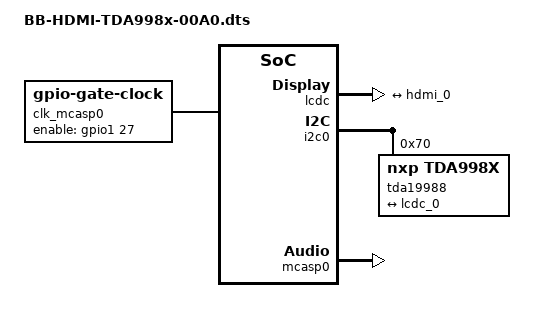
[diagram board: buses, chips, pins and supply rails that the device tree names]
/*
* Copyright (C) 2012 Texas Instruments Incorporated - http://www.ti.com/
*
* This program is free software; you can redistribute it and/or modify
* it under the terms of the GNU General Public License version 2 as
* published by the Free Software Foundation.
*/
/dts-v1/;
/plugin/;

#include <dt-bindings/gpio/gpio.h>
#include <dt-bindings/pinctrl/am33xx.h>
#include <dt-bindings/display/tda998x.h>

/ {
	compatible = "ti,beaglebone-black";

	/* identification */
	part-number = "BB-HDMI-TDA998x";
	version = "00A0";

	/* state the resources this cape uses */
	exclusive-use =
		/* the pin header uses */
		"P9.25",	/* mcasp0: mcasp0_ahclkx */
		"P9.28",	/* mcasp0: mcasp0_axr2 */
		"P9.29",	/* mcasp0: mcasp0_fsx */
		"P9.31",	/* mcasp0: mcasp0_aclkx */
		"P8.45",	/* lcd: lcd_data0 */
		"P8.46",	/* lcd: lcd_data1 */
		"P8.43",	/* lcd: lcd_data2 */
		"P8.44",	/* lcd: lcd_data3 */
		"P8.41",	/* lcd: lcd_data4 */
		"P8.42",	/* lcd: lcd_data5 */
		"P8.39",	/* lcd: lcd_data6 */
		"P8.40",	/* lcd: lcd_data7 */
		"P8.37",	/* lcd: lcd_data8 */
		"P8.38",	/* lcd: lcd_data9 */
		"P8.36",	/* lcd: lcd_data10 */
		"P8.34",	/* lcd: lcd_data11 */
		"P8.35",	/* lcd: lcd_data12 */
		"P8.33",	/* lcd: lcd_data13 */
		"P8.31",	/* lcd: lcd_data14 */
		"P8.32",	/* lcd: lcd_data15 */
		"P8.27",	/* lcd: lcd_vsync */
		"P8.29",	/* lcd: lcd_hsync */
		"P8.28",	/* lcd: lcd_pclk */
		"P8.30",	/* lcd: lcd_ac_bias_en */
		/* the hardware IP uses */
		"gpio1_27",
		"mcasp0",
		"lcd";

	fragment@0 {
		target-path="/";
		__overlay__ {
			clk_mcasp0_fixed: clk_mcasp0_fixed {
				#clock-cells = <0>;
				compatible = "fixed-clock";
				clock-frequency = <24576000>;
			};

			clk_mcasp0: clk_mcasp0 {
				#clock-cells = <0>;
				compatible = "gpio-gate-clock";
				clocks = <&clk_mcasp0_fixed>;
				enable-gpios = <&gpio1 27 0>; /* BeagleBone Black Clk enable on GPIO1_27 */
			};

			sound {
				compatible = "simple-audio-card";
				simple-audio-card,name = "TI BeagleBone Black";
				simple-audio-card,format = "i2s";
				simple-audio-card,bitclock-master = <&dailink0_master>;
				simple-audio-card,frame-master = <&dailink0_master>;

				dailink0_master: simple-audio-card,cpu {
					sound-dai = <&mcasp0>;
					clocks = <&clk_mcasp0>;
				};

				simple-audio-card,codec {
					sound-dai = <&tda19988>;
				};
			};
		};
	};

	fragment@1 {
		target = <&am33xx_pinmux>;
		__overlay__ {
			nxp_hdmi_bonelt_pins: nxp_hdmi_bonelt_pins {
				pinctrl-single,pins = <
					AM33XX_IOPAD(0x9b0, PIN_OUTPUT_PULLDOWN | MUX_MODE3)	/* xdma_event_intr0 */
					AM33XX_IOPAD(0x8a0, PIN_OUTPUT | MUX_MODE0)		/* lcd_data0.lcd_data0 */
					AM33XX_IOPAD(0x8a4, PIN_OUTPUT | MUX_MODE0)		/* lcd_data1.lcd_data1 */
					AM33XX_IOPAD(0x8a8, PIN_OUTPUT | MUX_MODE0)		/* lcd_data2.lcd_data2 */
					AM33XX_IOPAD(0x8ac, PIN_OUTPUT | MUX_MODE0)		/* lcd_data3.lcd_data3 */
					AM33XX_IOPAD(0x8b0, PIN_OUTPUT | MUX_MODE0)		/* lcd_data4.lcd_data4 */
					AM33XX_IOPAD(0x8b4, PIN_OUTPUT | MUX_MODE0)		/* lcd_data5.lcd_data5 */
					AM33XX_IOPAD(0x8b8, PIN_OUTPUT | MUX_MODE0)		/* lcd_data6.lcd_data6 */
					AM33XX_IOPAD(0x8bc, PIN_OUTPUT | MUX_MODE0)		/* lcd_data7.lcd_data7 */
					AM33XX_IOPAD(0x8c0, PIN_OUTPUT | MUX_MODE0)		/* lcd_data8.lcd_data8 */
					AM33XX_IOPAD(0x8c4, PIN_OUTPUT | MUX_MODE0)		/* lcd_data9.lcd_data9 */
					AM33XX_IOPAD(0x8c8, PIN_OUTPUT | MUX_MODE0)		/* lcd_data10.lcd_data10 */
					AM33XX_IOPAD(0x8cc, PIN_OUTPUT | MUX_MODE0)		/* lcd_data11.lcd_data11 */
					AM33XX_IOPAD(0x8d0, PIN_OUTPUT | MUX_MODE0)		/* lcd_data12.lcd_data12 */
					AM33XX_IOPAD(0x8d4, PIN_OUTPUT | MUX_MODE0)		/* lcd_data13.lcd_data13 */
					AM33XX_IOPAD(0x8d8, PIN_OUTPUT | MUX_MODE0)		/* lcd_data14.lcd_data14 */
					AM33XX_IOPAD(0x8dc, PIN_OUTPUT | MUX_MODE0)		/* lcd_data15.lcd_data15 */
					AM33XX_IOPAD(0x8e0, PIN_OUTPUT_PULLDOWN | MUX_MODE0)	/* lcd_vsync.lcd_vsync */
					AM33XX_IOPAD(0x8e4, PIN_OUTPUT_PULLDOWN | MUX_MODE0)	/* lcd_hsync.lcd_hsync */
					AM33XX_IOPAD(0x8e8, PIN_OUTPUT_PULLDOWN | MUX_MODE0)	/* lcd_pclk.lcd_pclk */
					AM33XX_IOPAD(0x8ec, PIN_OUTPUT_PULLDOWN | MUX_MODE0)	/* lcd_ac_bias_en.lcd_ac_bias_en */
				>;
			};

			nxp_hdmi_bonelt_off_pins: nxp_hdmi_bonelt_off_pins {
				pinctrl-single,pins = <
					AM33XX_IOPAD(0x9b0, PIN_OUTPUT_PULLDOWN | MUX_MODE3)	/* xdma_event_intr0 */
				>;
			};

			mcasp0_pins: mcasp0_pins {
				pinctrl-single,pins = <
					AM33XX_IOPAD(0x9ac, PIN_INPUT_PULLUP | MUX_MODE0) /* mcasp0_ahcklx.mcasp0_ahclkx */
					AM33XX_IOPAD(0x99c, PIN_OUTPUT_PULLDOWN | MUX_MODE2) /* mcasp0_ahclkr.mcasp0_axr2*/
					AM33XX_IOPAD(0x994, PIN_OUTPUT_PULLUP | MUX_MODE0) /* mcasp0_fsx.mcasp0_fsx */
					AM33XX_IOPAD(0x990, PIN_OUTPUT_PULLDOWN | MUX_MODE0) /* mcasp0_aclkx.mcasp0_aclkx */
					AM33XX_IOPAD(0x86c, PIN_OUTPUT_PULLDOWN | MUX_MODE7) /* gpmc_a11.GPIO1_27 */
				>;
			};
		};
	};

	fragment@2 {
		target = <&lcdc>;
		__overlay__ {
			status = "okay";

			/* If you want to get 24 bit RGB and 16 BGR mode instead of
			 * current 16 bit RGB and 24 BGR modes, set the propety
			 * below to "crossed" and uncomment the video-ports -property
			 * in tda19988 node.
			 */
			blue-and-red-wiring = "straight";

			port {
				lcdc_0: endpoint@0 {
					remote-endpoint = <&hdmi_0>;
				};
			};
		};
	};

	fragment@3 {
		target = <&i2c0>;
		__overlay__ {

			#address-cells = <1>;
			#size-cells = <0>;
			tda19988: tda19988 {
				compatible = "nxp,tda998x";
				reg = <0x70>;

				pinctrl-names = "default", "off";
				pinctrl-0 = <&nxp_hdmi_bonelt_pins>;
				pinctrl-1 = <&nxp_hdmi_bonelt_off_pins>;

				/* Convert 24bit BGR to RGB, e.g. cross red and blue wiring */
				/* video-ports = <0x234501>; */

				#sound-dai-cells = <0>;
				audio-ports = <	TDA998x_I2S	0x03>;

				ports {
					port@0 {
						hdmi_0: endpoint@0 {
							remote-endpoint = <&lcdc_0>;
						};
					};
				};
			};
		};
	};

	fragment@4 {
		target = <&mcasp0>;
		__overlay__ {
			#sound-dai-cells = <0>;
			pinctrl-names = "default";
			pinctrl-0 = <&mcasp0_pins>;
			status = "okay";
			op-mode = <0>;	/* MCASP_IIS_MODE */
			tdm-slots = <2>;
			serial-dir = <	/* 0: INACTIVE, 1: TX, 2: RX */
					0 0 1 0
				>;
			tx-num-evt = <32>;
			rx-num-evt = <32>;
		};
	};
};
